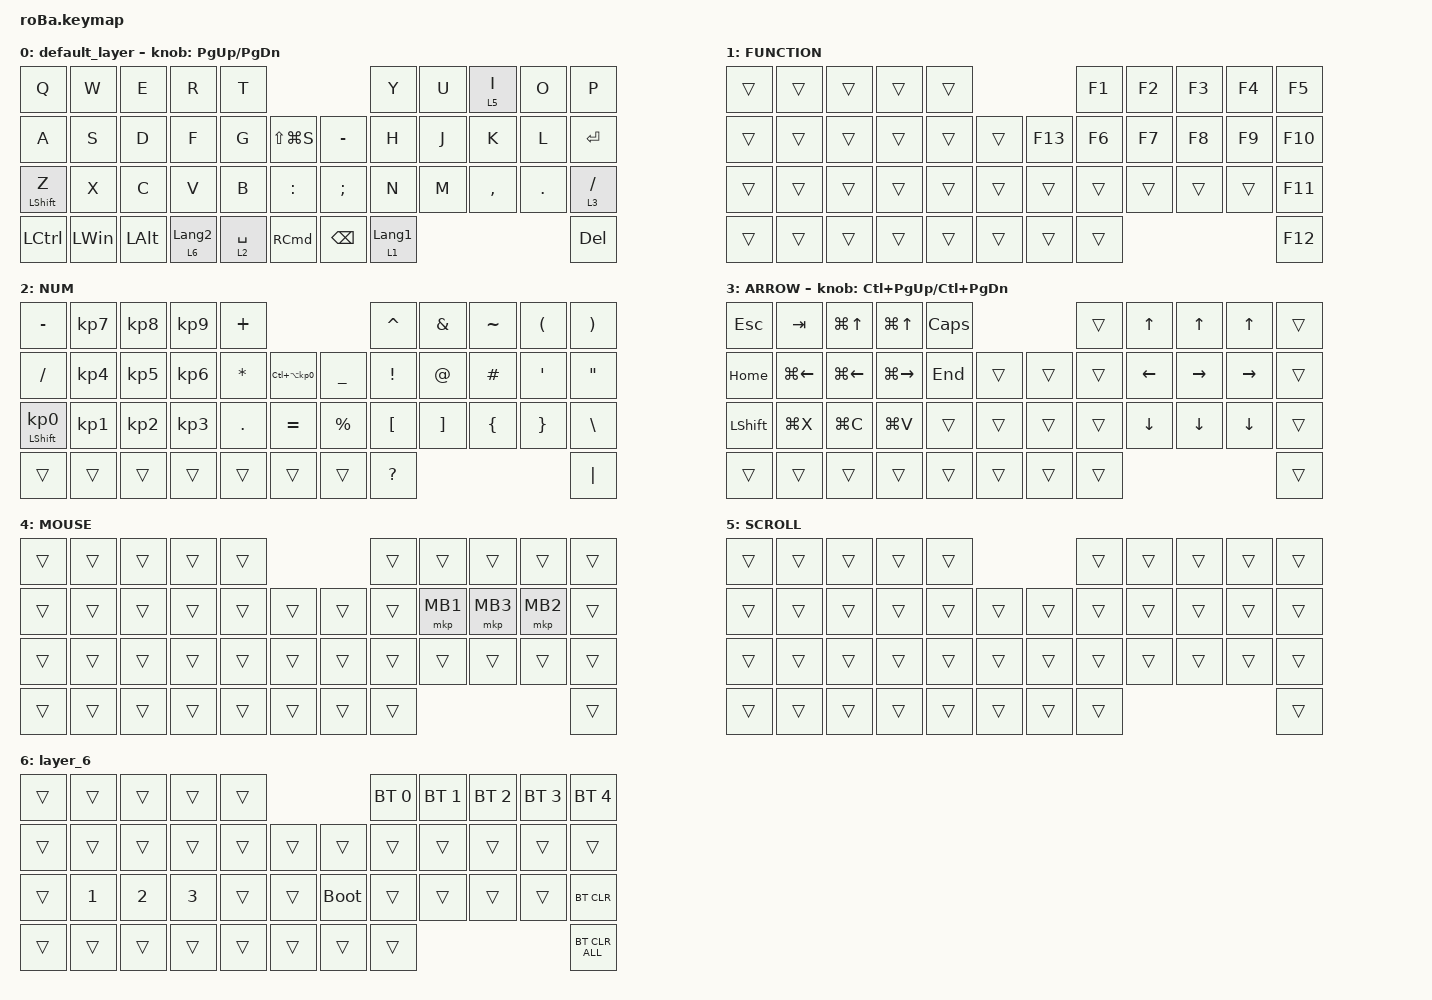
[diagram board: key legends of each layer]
#include <behaviors.dtsi>
#include <dt-bindings/zmk/bt.h>
#include <dt-bindings/zmk/keys.h>
#include <dt-bindings/zmk/pointing.h>

&mt {
    flavor = "balanced";
    quick-tap-ms = <0>;
};

&trackball {
    automouse-layer = <4>;
    scroll-layers = <5>;

    // arrows {
    //     layers = <3>;
    //     bindings =
    //         <&kp RIGHT_ARROW>,
    //         <&kp LEFT_ARROW>,
    //         <&kp UP_ARROW>,
    //         <&kp DOWN_ARROW>;
    //     tick = <10>;
    //     wait-ms = <5>;
    //     tap-ms = <5>;
    // };
};

/ {
    combos {
        compatible = "zmk,combos";

        tab {
            bindings = <&kp TAB>;
            key-positions = <11 12>;
        };

        shift_tab {
            bindings = <&kp LS(TAB)>;
            key-positions = <12 13>;
        };

        muhennkann {
            bindings = <&to_layer_0 INT_MUHENKAN>;
            key-positions = <11 10>;
        };

        eq {
            bindings = <&kp EQUAL>;
            key-positions = <24 25>;
        };
    };

    macros {
        to_layer_0: to_layer_0 {
            compatible = "zmk,behavior-macro-one-param";
            #binding-cells = <1>;
            bindings = <&to 0 &macro_param_1to1 &kp MACRO_PLACEHOLDER>;
            label = "TO_LAYER_0";
        };
    };

    behaviors {
        lt_to_layer_0: lt_to_layer_0 {
            compatible = "zmk,behavior-hold-tap";
            label = "LAYER_TAP_TO_0";
            bindings = <&mo>, <&to_layer_0>;

            #binding-cells = <2>;
            tapping-term-ms = <200>;
        };
    };

    keymap {
        compatible = "zmk,keymap";

        default_layer {
            bindings = <
&kp Q             &kp W         &kp E         &kp R                        &kp T                                              &kp Y             &kp U  &lt 5 I    &kp O    &kp P
&kp A             &kp S         &kp D         &kp F                        &kp G        &kp LS(LG(S))          &kp MINUS      &kp H             &kp J  &kp K      &kp L    &kp ENTER
&mt LEFT_SHIFT Z  &kp X         &kp C         &kp V                        &kp B        &kp COLON              &kp SEMICOLON  &kp N             &kp M  &kp COMMA  &kp DOT  &lt_to_layer_0 3 SLASH
&kp LCTRL         &kp LEFT_WIN  &kp LEFT_ALT  &lt_to_layer_0 6 LANGUAGE_2  &lt 2 SPACE  &kp RIGHT_COMMAND      &kp BACKSPACE  &lt 1 LANGUAGE_1                             &kp DEL
            >;

            sensor-bindings = <&inc_dec_kp PG_UP PAGE_DOWN>;
        };

        FUNCTION {
            bindings = <
&trans  &trans  &trans  &trans  &trans                       &kp F1  &kp F2  &kp F3  &kp F4  &kp F5
&trans  &trans  &trans  &trans  &trans  &trans      &kp F13  &kp F6  &kp F7  &kp F8  &kp F9  &kp F10
&trans  &trans  &trans  &trans  &trans  &trans      &trans   &trans  &trans  &trans  &trans  &kp F11
&trans  &trans  &trans  &trans  &trans  &trans      &trans   &trans                          &kp F12
            >;
        };

        NUM {
            bindings = <
&kp MINUS                   &kp KP_NUMBER_7  &kp KP_NUMBER_8  &kp KP_NUMBER_9  &kp PLUS                                                   &kp CARET         &kp AMPERSAND      &kp TILDE       &kp LEFT_PARENTHESIS  &kp RIGHT_PARENTHESIS
&kp SLASH                   &kp KP_NUMBER_4  &kp KP_NUMBER_5  &kp KP_NUMBER_6  &kp ASTERISK  &kp LC(LA(KP_NUMBER_0))      &kp UNDERSCORE  &kp EXCLAMATION   &kp AT_SIGN        &kp HASH        &kp SINGLE_QUOTE      &kp DOUBLE_QUOTES
&mt LEFT_SHIFT KP_NUMBER_0  &kp KP_NUMBER_1  &kp KP_NUMBER_2  &kp KP_NUMBER_3  &kp PERIOD    &kp EQUAL                    &kp PERCENT     &kp LEFT_BRACKET  &kp RIGHT_BRACKET  &kp LEFT_BRACE  &kp RIGHT_BRACE       &kp BACKSLASH
&trans                      &trans           &trans           &trans           &trans        &trans                       &trans          &kp QUESTION                                                               &kp PIPE
            >;
        };

        ARROW {
            bindings = <
&kp ESCAPE      &kp TAB             &kp LG(UP_ARROW)    &kp LG(UP_ARROW)     &kp CAPSLOCK                      &trans  &kp UP          &kp UP          &kp UP           &trans
&kp HOME        &kp LG(LEFT_ARROW)  &kp LG(LEFT_ARROW)  &kp LG(RIGHT_ARROW)  &kp END       &trans      &trans  &trans  &kp LEFT_ARROW  &kp RIGHT       &kp RIGHT_ARROW  &trans
&kp LEFT_SHIFT  &kp LG(X)           &kp LG(C)           &kp LG(V)            &trans        &trans      &trans  &trans  &kp DOWN        &kp DOWN_ARROW  &kp DOWN         &trans
&trans          &trans              &trans              &trans               &trans        &trans      &trans  &trans                                                   &trans
            >;

            sensor-bindings = <&inc_dec_kp LC(PAGE_UP) LC(PAGE_DOWN)>;
        };

        MOUSE {
            bindings = <
&trans  &trans  &trans  &trans  &trans                      &trans  &trans    &trans    &trans    &trans
&trans  &trans  &trans  &trans  &trans  &trans      &trans  &trans  &mkp MB1  &mkp MB3  &mkp MB2  &trans
&trans  &trans  &trans  &trans  &trans  &trans      &trans  &trans  &trans    &trans    &trans    &trans
&trans  &trans  &trans  &trans  &trans  &trans      &trans  &trans                                &trans
            >;
        };

        SCROLL {
            bindings = <
&trans  &trans  &trans  &trans  &trans                      &trans  &trans  &trans  &trans  &trans
&trans  &trans  &trans  &trans  &trans  &trans      &trans  &trans  &trans  &trans  &trans  &trans
&trans  &trans  &trans  &trans  &trans  &trans      &trans  &trans  &trans  &trans  &trans  &trans
&trans  &trans  &trans  &trans  &trans  &trans      &trans  &trans                          &trans
            >;
        };

        layer_6 {
            bindings = <
&trans  &trans        &trans        &trans        &trans                           &bt BT_SEL 0  &bt BT_SEL 1  &bt BT_SEL 2  &bt BT_SEL 3  &bt BT_SEL 4
&trans  &trans        &trans        &trans        &trans  &trans      &trans       &trans        &trans        &trans        &trans        &trans
&trans  &kp NUMBER_1  &kp NUMBER_2  &kp NUMBER_3  &trans  &trans      &bootloader  &trans        &trans        &trans        &trans        &bt BT_CLR
&trans  &trans        &trans        &trans        &trans  &trans      &trans       &trans                                                  &bt BT_CLR_ALL
            >;
        };
    };
};
